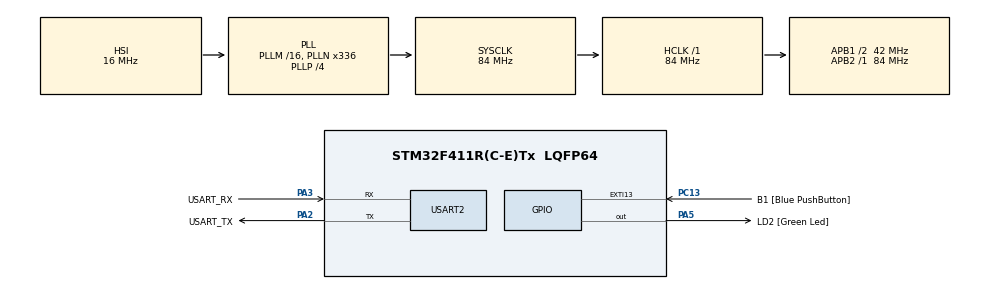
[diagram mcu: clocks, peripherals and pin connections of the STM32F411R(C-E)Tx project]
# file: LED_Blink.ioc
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Mcu.Family=STM32F4
Mcu.Name=STM32F411R(C-E)Tx
Mcu.Package=LQFP64
NVIC.PriorityGroup=NVIC_PRIORITYGROUP_0
PA13.GPIO_Label=TMS
PA13.Mode=Serial_Wire
PA13.Signal=SYS_JTMS-SWDIO
PA14.GPIO_Label=TCK
PA14.Mode=Serial_Wire
PA14.Signal=SYS_JTCK-SWCLK
PA2.GPIO_Label=USART_TX
PA2.Mode=Asynchronous
PA2.Signal=USART2_TX
PA3.GPIO_Label=USART_RX
PA3.Mode=Asynchronous
PA3.Signal=USART2_RX
PA5.GPIO_Label=LD2 [Green Led]
PA5.Signal=GPIO_Output
PB3.GPIO_Label=SWO
PB3.Signal=SYS_JTDO-SWO
PC13-ANTI_TAMP.GPIO_Label=B1 [Blue PushButton]
PC13-ANTI_TAMP.GPIO_ModeDefaultEXTI=GPIO_MODE_IT_FALLING
PC13-ANTI_TAMP.Signal=GPXTI13
PC14-OSC32_IN.Signal=RCC_OSC32_IN
PC15-OSC32_OUT.Signal=RCC_OSC32_OUT
PH0\ -\ OSC_IN.Signal=RCC_OSC_IN
PH1\ -\ OSC_OUT.Signal=RCC_OSC_OUT
ProjectManager.HeapSize=0x200
ProjectManager.StackSize=0x400
ProjectManager.TargetToolchain=STM32CubeIDE
RCC.48MHZClocksFreq_Value=84000000
RCC.AHBFreq_Value=84000000
RCC.APB1CLKDivider=RCC_HCLK_DIV2
RCC.APB1Freq_Value=42000000
RCC.APB1TimFreq_Value=84000000
RCC.APB2Freq_Value=84000000
RCC.APB2TimFreq_Value=84000000
RCC.CortexFreq_Value=84000000
RCC.FLatency-AdvancedSettings=FLASH_LATENCY_2
RCC.HCLKFreq_Value=84000000
RCC.HSE_VALUE=8000000
RCC.HSI_VALUE=16000000
RCC.PLLN=336
RCC.PLLP=RCC_PLLP_DIV4
RCC.SYSCLKFreq_VALUE=84000000
RCC.SYSCLKSource=RCC_SYSCLKSOURCE_PLLCLK
RCC.VCOOutputFreq_Value=336000000
USART2.VirtualMode=VM_ASYNC
board=NUCLEO-F411RE

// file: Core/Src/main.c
/* USER CODE BEGIN Header */
/**
  ******************************************************************************
  * @file           : main.c
  * @brief          : Main program body
  ******************************************************************************
  * @attention
  *
  * Copyright (c) 2025 STMicroelectronics.
  * All rights reserved.
  *
  * This software is licensed under terms that can be found in the LICENSE file
  * in the root directory of this software component.
  * If no LICENSE file comes with this software, it is provided AS-IS.
  *
  ******************************************************************************
  */
/* USER CODE END Header */
#include "main.h"

/* USER CODE BEGIN Includes */
#include <stdio.h>
/* USER CODE END Includes */

/* USER CODE BEGIN PD */
#define LOW 0
#define HIGH 1

#ifdef __GNUC__
/* With GCC, small printf (option LD Linker->Libraries->Small printf
   set to 'Yes') calls __io_putchar() */
#define PUTCHAR_PROTOTYPE int __io_putchar(int ch)
#else
#define PUTCHAR_PROTOTYPE int fputc(int ch, FILE *f)
#endif /* __GNUC__ */

/* USER CODE END PD */

UART_HandleTypeDef huart2;

void SystemClock_Config(void);
static void MX_GPIO_Init(void);
static void MX_USART2_UART_Init(void);

int main(void)
{

  /* USER CODE BEGIN 1 */
	int buttonState = 0;
	int buttonFlag = 0;
	int buttonStateOld = 0;
	int cnt = 0;
  /* USER CODE END 1 */

  /* MCU Configuration--------------------------------------------------------*/

  /* Reset of all peripherals, Initializes the Flash interface and the Systick. */
  HAL_Init();

  /* Configure the system clock */
  SystemClock_Config();

  /* Initialize all configured peripherals */
  MX_GPIO_Init();
  MX_USART2_UART_Init();

  /* Infinite loop */
  /* USER CODE BEGIN WHILE */
  while (1)
  {
//#define LD2_Pin GPIO_PIN_5
//#define LD2_GPIO_Port GPIOA
#if 0
	  HAL_GPIO_WritePin(GPIOA, GPIO_PIN_5,GPIO_PIN_SET);
	  HAL_Delay(100);
	  HAL_GPIO_WritePin(GPIOA, GPIO_PIN_5,GPIO_PIN_RESET);
	  HAL_Delay(100);
#endif
#if 0
	  HAL_GPIO_TogglePin(LD2_GPIO_Port,LD2_Pin);
	  HAL_Delay(1000);
#endif
#if 0
	  button_state = HAL_GPIO_ReadPin(GPIOC,GPIO_PIN_13);
	  HAL_GPIO_WritePin(GPIOA, GPIO_PIN_5,!button_state);
#endif
	  buttonState = !(HAL_GPIO_ReadPin(GPIOC,GPIO_PIN_13));
	  if(buttonState != buttonStateOld)   //버턴의 상태가 변경시
	  {

	    if(buttonState)   //버턴이 On일때
	    {
	      buttonFlag = !buttonFlag;   //Toggle
//	      Serial.print("buttonFlag : ");
//	      Serial.println(buttonFlag);
	      printf("buttonFlag :  %d\r\n",buttonFlag);
	      // check if the pushbutton is pressed. If it is, the buttonState is HIGH:
	      if (buttonFlag == HIGH) {
	        // turn LED on:
//	        digitalWrite(ledPin, HIGH);
	    	HAL_GPIO_WritePin(GPIOA, GPIO_PIN_5,GPIO_PIN_SET);
	      } else {
	        // turn LED off:
//	        digitalWrite(ledPin, LOW);
	        HAL_GPIO_WritePin(GPIOA, GPIO_PIN_5,GPIO_PIN_RESET);
	      }
//	      Serial.print("cnt : ");
//	      Serial.println(cnt++);
	      printf("cnt :  %d\r\n",cnt++);
	    }
	    buttonStateOld = buttonState;
	  }
    /* USER CODE END WHILE */

  }
}

void SystemClock_Config(void)
{
  RCC_OscInitTypeDef RCC_OscInitStruct = {0};
  RCC_ClkInitTypeDef RCC_ClkInitStruct = {0};

  /** Configure the main internal regulator output voltage
  */
  __HAL_RCC_PWR_CLK_ENABLE();
  __HAL_PWR_VOLTAGESCALING_CONFIG(PWR_REGULATOR_VOLTAGE_SCALE1);

  /** Initializes the RCC Oscillators according to the specified parameters
  * in the RCC_OscInitTypeDef structure.
  */
  RCC_OscInitStruct.OscillatorType = RCC_OSCILLATORTYPE_HSI;
  RCC_OscInitStruct.HSIState = RCC_HSI_ON;
  RCC_OscInitStruct.HSICalibrationValue = RCC_HSICALIBRATION_DEFAULT;
  RCC_OscInitStruct.PLL.PLLState = RCC_PLL_ON;
  RCC_OscInitStruct.PLL.PLLSource = RCC_PLLSOURCE_HSI;
  RCC_OscInitStruct.PLL.PLLM = 16;
  RCC_OscInitStruct.PLL.PLLN = 336;
  RCC_OscInitStruct.PLL.PLLP = RCC_PLLP_DIV4;
  RCC_OscInitStruct.PLL.PLLQ = 4;
  if (HAL_RCC_OscConfig(&RCC_OscInitStruct) != HAL_OK)
  {
    Error_Handler();
  }

  /** Initializes the CPU, AHB and APB buses clocks
  */
  RCC_ClkInitStruct.ClockType = RCC_CLOCKTYPE_HCLK|RCC_CLOCKTYPE_SYSCLK
                              |RCC_CLOCKTYPE_PCLK1|RCC_CLOCKTYPE_PCLK2;
  RCC_ClkInitStruct.SYSCLKSource = RCC_SYSCLKSOURCE_PLLCLK;
  RCC_ClkInitStruct.AHBCLKDivider = RCC_SYSCLK_DIV1;
  RCC_ClkInitStruct.APB1CLKDivider = RCC_HCLK_DIV2;
  RCC_ClkInitStruct.APB2CLKDivider = RCC_HCLK_DIV1;

  if (HAL_RCC_ClockConfig(&RCC_ClkInitStruct, FLASH_LATENCY_2) != HAL_OK)
  {
    Error_Handler();
  }
}

static void MX_USART2_UART_Init(void)
{

  huart2.Instance = USART2;
  huart2.Init.BaudRate = 115200;
  huart2.Init.WordLength = UART_WORDLENGTH_8B;
  huart2.Init.StopBits = UART_STOPBITS_1;
  huart2.Init.Parity = UART_PARITY_NONE;
  huart2.Init.Mode = UART_MODE_TX_RX;
  huart2.Init.HwFlowCtl = UART_HWCONTROL_NONE;
  huart2.Init.OverSampling = UART_OVERSAMPLING_16;
  if (HAL_UART_Init(&huart2) != HAL_OK)
  {
    Error_Handler();
  }

}

static void MX_GPIO_Init(void)
{
  GPIO_InitTypeDef GPIO_InitStruct = {0};

  /* GPIO Ports Clock Enable */
  __HAL_RCC_GPIOC_CLK_ENABLE();
  __HAL_RCC_GPIOH_CLK_ENABLE();
  __HAL_RCC_GPIOA_CLK_ENABLE();
  __HAL_RCC_GPIOB_CLK_ENABLE();

  /*Configure GPIO pin Output Level */
  HAL_GPIO_WritePin(LD2_GPIO_Port, LD2_Pin, GPIO_PIN_RESET);

  /*Configure GPIO pin : B1_Pin */
  GPIO_InitStruct.Pin = B1_Pin;
  GPIO_InitStruct.Mode = GPIO_MODE_IT_FALLING;
  GPIO_InitStruct.Pull = GPIO_NOPULL;
  HAL_GPIO_Init(B1_GPIO_Port, &GPIO_InitStruct);

  /*Configure GPIO pin : LD2_Pin */
  GPIO_InitStruct.Pin = LD2_Pin;
  GPIO_InitStruct.Mode = GPIO_MODE_OUTPUT_PP;
  GPIO_InitStruct.Pull = GPIO_NOPULL;
  GPIO_InitStruct.Speed = GPIO_SPEED_FREQ_LOW;
  HAL_GPIO_Init(LD2_GPIO_Port, &GPIO_InitStruct);

}

/* USER CODE BEGIN 4 */
/**
  * @brief  Retargets the C library printf function to the USART.
  * @param  None
  * @retval None
  */
PUTCHAR_PROTOTYPE
{
  /* Place your implementation of fputc here */
  /* e.g. write a character to the USART6 and Loop until the end of transmission */
  HAL_UART_Transmit(&huart2, (uint8_t *)&ch, 1, 0xFFFF);

  return ch;
}
/* USER CODE END 4 */

void Error_Handler(void)
{
  __disable_irq();
  while (1)
  {
  }
}
